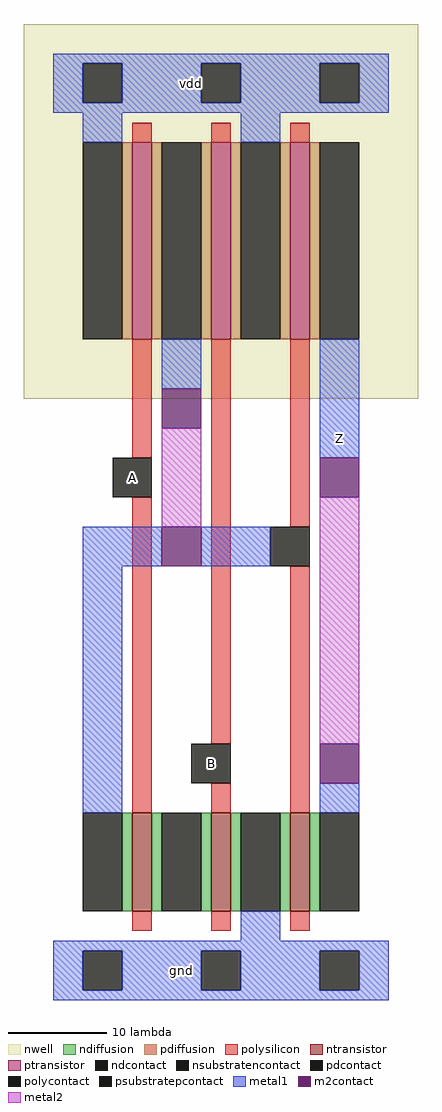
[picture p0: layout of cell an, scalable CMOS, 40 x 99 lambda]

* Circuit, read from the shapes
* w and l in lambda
.subckt an A B Z gnd vdd
M1 n1 A n2 gnd nfet w=10 l=2
M2 gnd B n1 gnd nfet w=10 l=2
M3 Z n2 gnd gnd nfet w=10 l=2
M4 n2 A vdd vdd pfet w=20 l=2
M5 vdd B n2 vdd pfet w=20 l=2
M6 Z n2 vdd vdd pfet w=20 l=2
.ends

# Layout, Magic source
magic
tech scmos
<< nwell >>
rect -24 -7 16 31
<< ntransistor >>
rect -13 -59 -11 -49
rect -5 -59 -3 -49
rect 3 -59 5 -49
<< ptransistor >>
rect -13 -1 -11 19
rect -5 -1 -3 19
rect 3 -1 5 19
<< ndiffusion >>
rect -14 -59 -13 -49
rect -11 -59 -10 -49
rect -6 -59 -5 -49
rect -3 -59 -2 -49
rect 2 -59 3 -49
rect 5 -59 6 -49
<< pdiffusion >>
rect -14 -1 -13 19
rect -11 -1 -10 19
rect -6 -1 -5 19
rect -3 -1 -2 19
rect 2 -1 3 19
rect 5 -1 6 19
<< ndcontact >>
rect -18 -59 -14 -49
rect -10 -59 -6 -49
rect -2 -59 2 -49
rect 6 -59 10 -49
<< pdcontact >>
rect -18 -1 -14 19
rect -10 -1 -6 19
rect -2 -1 2 19
rect 6 -1 10 19
<< psubstratepcontact >>
rect -18 -67 -14 -63
rect -6 -67 -2 -63
rect 6 -67 10 -63
<< nsubstratencontact >>
rect -18 23 -14 27
rect -6 23 -2 27
rect 6 23 10 27
<< polysilicon >>
rect -13 19 -11 21
rect -5 19 -3 21
rect 3 19 5 21
rect -13 -13 -11 -1
rect -13 -49 -11 -17
rect -5 -42 -3 -1
rect 3 -20 5 -1
rect -5 -49 -3 -46
rect 3 -49 5 -24
rect -13 -61 -11 -59
rect -5 -61 -3 -59
rect 3 -61 5 -59
<< polycontact >>
rect -15 -17 -11 -13
rect 1 -24 5 -20
rect -7 -46 -3 -42
<< metal1 >>
rect -21 27 13 28
rect -21 23 -18 27
rect -14 23 -6 27
rect -2 23 6 27
rect 10 23 13 27
rect -21 22 13 23
rect -18 19 -14 22
rect -2 19 2 22
rect -10 -6 -6 -1
rect 6 -13 10 -1
rect -18 -24 -10 -20
rect -6 -24 1 -20
rect -18 -49 -14 -24
rect 6 -49 10 -46
rect -2 -62 2 -59
rect -21 -63 13 -62
rect -21 -67 -18 -63
rect -14 -67 -6 -63
rect -2 -67 6 -63
rect 10 -67 13 -63
rect -21 -68 13 -67
<< m2contact >>
rect -10 -10 -6 -6
rect 6 -17 10 -13
rect -10 -24 -6 -20
rect 6 -46 10 -42
<< metal2 >>
rect -10 -20 -6 -10
rect 6 -42 10 -17
<< labels >>
rlabel polycontact -13 -15 -13 -15 3 A
rlabel metal1 -7 25 -7 25 5 vdd
rlabel polycontact -5 -44 -5 -44 1 B
rlabel metal1 -8 -65 -8 -65 1 gnd
rlabel metal1 8 -11 8 -11 1 Z
<< end >>
